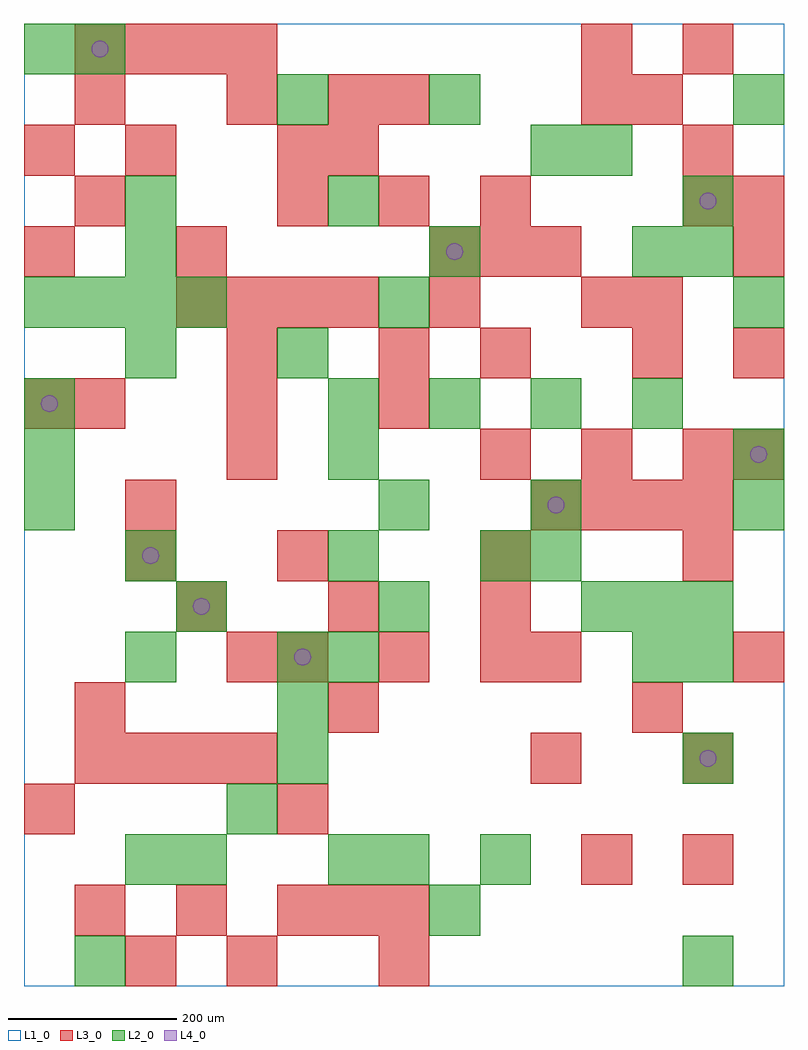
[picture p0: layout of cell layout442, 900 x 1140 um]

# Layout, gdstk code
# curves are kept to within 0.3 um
import gdstk
lib = gdstk.Library(unit=1e-6, precision=1e-09)
def R(c, l, rs):  # rectangles x0, y0, x1, y1
    for r in rs: c.add(gdstk.rectangle(r[:2], r[2:], *l))
def A(c, l, x, y, w, h, nx, ny, dx, dy):  # array of equal rectangles
    R(c, l, [(x+i*dx, y+j*dy, x+i*dx+w, y+j*dy+h) for i in range(nx) for j in range(ny)])
def P(c, l, *ps):  # polygons
    for p in ps: c.add(gdstk.Polygon(p, *l))
L1_0 = (1, 0)
L2_0 = (2, 0)
L3_0 = (3, 0)
L4_0 = (4, 0)

layout442 = lib.new_cell('layout442')
R(layout442, L1_0, [(0,0,900,1140)])
A(layout442, L2_0, 300, 240, 60, 60, 1, 3, 0, 60)
A(layout442, L2_0, 360, 360, 60, 60, 1, 3, 0, 120)
A(layout442, L2_0, 180, 420, 60, 60, 3, 1, 240, 0)
A(layout442, L2_0, 0, 540, 60, 60, 1, 3, 0, 60)
A(layout442, L2_0, 360, 660, 60, 60, 4, 1, 120, 0)
A(layout442, L2_0, 0, 780, 60, 60, 4, 1, 60, 0)
R(layout442, L2_0, [(60,0,120,60), (780,0,840,60), (480,60,540,120), (120,120,180,180), (180,120,240,180), (360,120,420,180), (420,120,480,180), (540,120,600,180), (240,180,300,240), (780,240,840,300), (120,360,180,420), (720,360,780,420), (780,360,840,420), (720,420,780,480), (780,420,840,480), (120,480,180,540), (540,480,600,540), (600,480,660,540), (420,540,480,600), (600,540,660,600), (840,540,900,600), (840,600,900,660), (120,720,180,780), (300,720,360,780), (420,780,480,840), (840,780,900,840), (120,840,180,900), (480,840,540,900), (720,840,780,900), (780,840,840,900), (120,900,180,960), (360,900,420,960), (780,900,840,960), (600,960,660,1020), (660,960,720,1020), (300,1020,360,1080), (480,1020,540,1080), (840,1020,900,1080), (0,1080,60,1140), (60,1080,120,1140)])
A(layout442, L3_0, 60, 60, 60, 60, 3, 1, 120, 0)
A(layout442, L3_0, 60, 240, 60, 60, 4, 2, 60, 840)
A(layout442, L3_0, 300, 360, 60, 60, 3, 2, 120, 540)
A(layout442, L3_0, 180, 420, 60, 60, 3, 1, 180, 0)
A(layout442, L3_0, 300, 480, 60, 60, 3, 1, 240, 0)
A(layout442, L3_0, 600, 540, 60, 60, 4, 1, 60, 0)
A(layout442, L3_0, 540, 600, 60, 60, 3, 1, 120, 0)
A(layout442, L3_0, 840, 600, 60, 60, 1, 3, 0, 120)
A(layout442, L3_0, 60, 660, 60, 60, 3, 1, 180, 0)
A(layout442, L3_0, 180, 780, 60, 60, 4, 1, 60, 0)
A(layout442, L3_0, 480, 840, 60, 60, 3, 1, 60, 0)
R(layout442, L3_0, [(120,0,180,60), (240,0,300,60), (420,0,480,60), (360,60,420,120), (420,60,480,120), (660,120,720,180), (780,120,840,180), (0,180,60,240), (300,180,360,240), (600,240,660,300), (780,240,840,300), (60,300,120,360), (360,300,420,360), (720,300,780,360), (240,360,300,420), (600,360,660,420), (840,360,900,420), (120,480,180,540), (120,540,180,600), (240,600,300,660), (0,660,60,720), (240,720,300,780), (420,720,480,780), (540,720,600,780), (720,720,780,780), (480,780,540,840), (660,780,720,840), (720,780,780,840), (0,840,60,900), (180,840,240,900), (60,900,120,960), (780,900,840,960), (840,900,900,960), (0,960,60,1020), (120,960,180,1020), (300,960,360,1020), (360,960,420,1020), (780,960,840,1020), (60,1020,120,1080), (240,1020,300,1080), (360,1020,420,1080), (420,1020,480,1080), (660,1020,720,1080), (720,1020,780,1080), (660,1080,720,1140), (780,1080,840,1140)])
P(layout442, L4_0, [(40,690),(39.239,693.827),(37.071,697.071),(33.827,699.239),(30,700),(26.173,699.239),(22.929,697.071),(20.761,693.827),(20,690),(20.761,686.173),(22.929,682.929),(26.173,680.761),(30,680),(33.827,680.761),(37.071,682.929),(39.239,686.173)],
  [(100,1110),(99.239,1113.827),(97.071,1117.071),(93.827,1119.239),(90,1120),(86.173,1119.239),(82.929,1117.071),(80.761,1113.827),(80,1110),(80.761,1106.173),(82.929,1102.929),(86.173,1100.761),(90,1100),(93.827,1100.761),(97.071,1102.929),(99.239,1106.173)],
  [(160,510),(159.239,513.827),(157.071,517.071),(153.827,519.239),(150,520),(146.173,519.239),(142.929,517.071),(140.761,513.827),(140,510),(140.761,506.173),(142.929,502.929),(146.173,500.761),(150,500),(153.827,500.761),(157.071,502.929),(159.239,506.173)],
  [(220,450),(219.239,453.827),(217.071,457.071),(213.827,459.239),(210,460),(206.173,459.239),(202.929,457.071),(200.761,453.827),(200,450),(200.761,446.173),(202.929,442.929),(206.173,440.761),(210,440),(213.827,440.761),(217.071,442.929),(219.239,446.173)],
  [(340,390),(339.239,393.827),(337.071,397.071),(333.827,399.239),(330,400),(326.173,399.239),(322.929,397.071),(320.761,393.827),(320,390),(320.761,386.173),(322.929,382.929),(326.173,380.761),(330,380),(333.827,380.761),(337.071,382.929),(339.239,386.173)],
  [(520,870),(519.239,873.827),(517.071,877.071),(513.827,879.239),(510,880),(506.173,879.239),(502.929,877.071),(500.761,873.827),(500,870),(500.761,866.173),(502.929,862.929),(506.173,860.761),(510,860),(513.827,860.761),(517.071,862.929),(519.239,866.173)],
  [(640,570),(639.239,573.827),(637.071,577.071),(633.827,579.239),(630,580),(626.173,579.239),(622.929,577.071),(620.761,573.827),(620,570),(620.761,566.173),(622.929,562.929),(626.173,560.761),(630,560),(633.827,560.761),(637.071,562.929),(639.239,566.173)],
  [(820,270),(819.239,273.827),(817.071,277.071),(813.827,279.239),(810,280),(806.173,279.239),(802.929,277.071),(800.761,273.827),(800,270),(800.761,266.173),(802.929,262.929),(806.173,260.761),(810,260),(813.827,260.761),(817.071,262.929),(819.239,266.173)],
  [(820,930),(819.239,933.827),(817.071,937.071),(813.827,939.239),(810,940),(806.173,939.239),(802.929,937.071),(800.761,933.827),(800,930),(800.761,926.173),(802.929,922.929),(806.173,920.761),(810,920),(813.827,920.761),(817.071,922.929),(819.239,926.173)],
  [(880,630),(879.239,633.827),(877.071,637.071),(873.827,639.239),(870,640),(866.173,639.239),(862.929,637.071),(860.761,633.827),(860,630),(860.761,626.173),(862.929,622.929),(866.173,620.761),(870,620),(873.827,620.761),(877.071,622.929),(879.239,626.173)])

lib.write_gds('layout442.gds')
